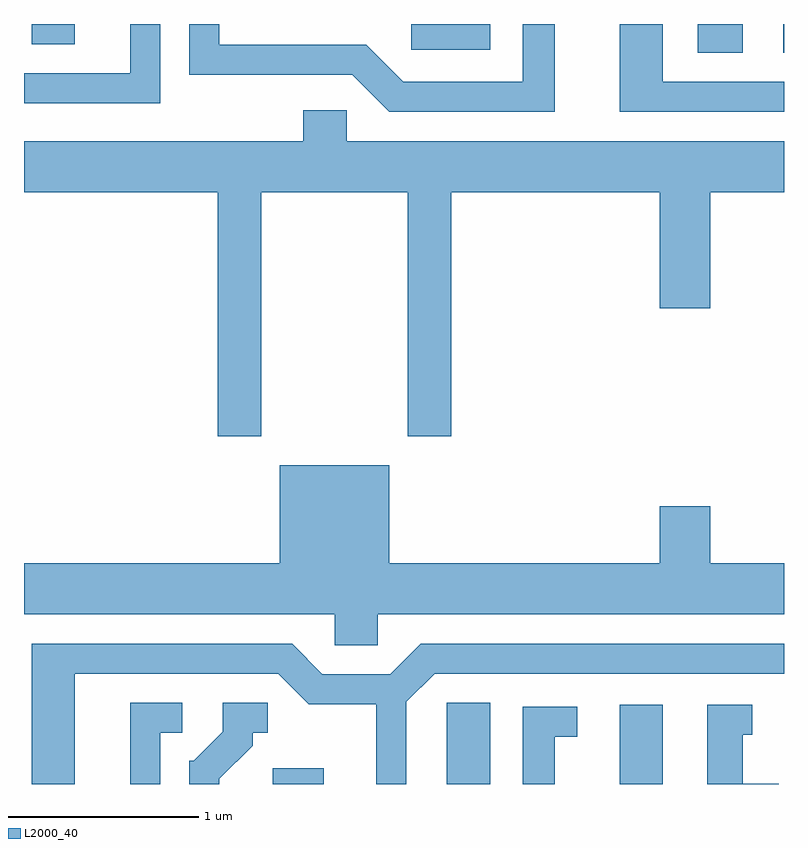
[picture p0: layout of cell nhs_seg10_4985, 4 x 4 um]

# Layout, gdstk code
import gdstk
lib = gdstk.Library(unit=1e-6, precision=1e-09)
def R(c, l, rs):  # rectangles x0, y0, x1, y1
    for r in rs: c.add(gdstk.rectangle(r[:2], r[2:], *l))
def P(c, l, *ps):  # polygons
    for p in ps: c.add(gdstk.Polygon(p, *l))
L2000_40 = (2000, 40)

nhs_seg10_4985 = lib.new_cell('nhs_seg10_4985')
R(nhs_seg10_4985, L2000_40, [(332.921,2168.522,333.189,2168.604), (333.836,2168.522,334.064,2168.949), (334.746,2168.522,334.974,2168.939), (335.158,2172.371,335.394,2172.522), (335.608,2172.371,335.611,2172.522), (333.648,2172.386,334.064,2172.522), (331.651,2172.416,331.879,2172.522)])
P(nhs_seg10_4985, L2000_40, [(334.404,2172.522),(334.236,2172.522),(334.236,2172.219),(333.607,2172.219),(333.412,2172.414),(332.639,2172.414),(332.639,2172.522),(332.481,2172.522),(332.481,2172.256),(333.339,2172.256),(333.534,2172.061),(334.404,2172.061)],
  [(335.611,2172.219),(334.974,2172.219),(334.974,2172.522),(334.746,2172.522),(334.746,2172.061),(335.611,2172.061)],
  [(332.329,2172.522),(332.171,2172.522),(332.171,2172.264),(331.611,2172.264),(331.611,2172.106),(332.329,2172.106)],
  [(332.859,2171.636),(333.631,2171.636),(333.631,2170.351),(333.859,2170.351),(333.859,2171.636),(334.956,2171.636),(334.956,2171.026),(335.224,2171.026),(335.224,2171.636),(335.611,2171.636),(335.611,2171.904),(333.309,2171.904),(333.309,2172.069),(333.081,2172.069),(333.081,2171.904),(331.611,2171.904),(331.611,2171.636),(332.631,2171.636),(332.631,2170.351),(332.859,2170.351)],
  [(333.474,2169.416),(335.611,2169.416),(335.611,2169.684),(335.224,2169.684),(335.224,2169.984),(334.956,2169.984),(334.956,2169.684),(333.534,2169.684),(333.534,2170.199),(332.956,2170.199),(332.956,2169.684),(331.611,2169.684),(331.611,2169.416),(333.246,2169.416),(333.246,2169.251),(333.474,2169.251)],
  [(331.879,2169.101),(332.949,2169.101),(333.109,2168.941),(333.466,2168.941),(333.466,2168.522),(333.624,2168.522),(333.624,2168.954),(333.772,2169.101),(335.611,2169.101),(335.611,2169.259),(333.699,2169.259),(333.539,2169.099),(333.182,2169.099),(333.022,2169.259),(331.651,2169.259),(331.651,2168.522),(331.879,2168.522)],
  [(332.639,2168.549),(332.814,2168.724),(332.814,2168.791),(332.893,2168.791),(332.893,2168.949),(332.656,2168.949),(332.656,2168.797),(332.504,2168.644),(332.481,2168.644),(332.481,2168.522),(332.639,2168.522)],
  [(332.329,2168.791),(332.443,2168.791),(332.443,2168.949),(332.171,2168.949),(332.171,2168.522),(332.329,2168.522)],
  [(335.584,2168.524),(335.394,2168.524),(335.394,2168.781),(335.443,2168.781),(335.443,2168.939),(335.206,2168.939),(335.206,2168.522),(335.584,2168.522)],
  [(334.404,2168.771),(334.523,2168.771),(334.523,2168.929),(334.236,2168.929),(334.236,2168.522),(334.404,2168.522)])

lib.write_gds('nhs_seg10_4985.gds')
